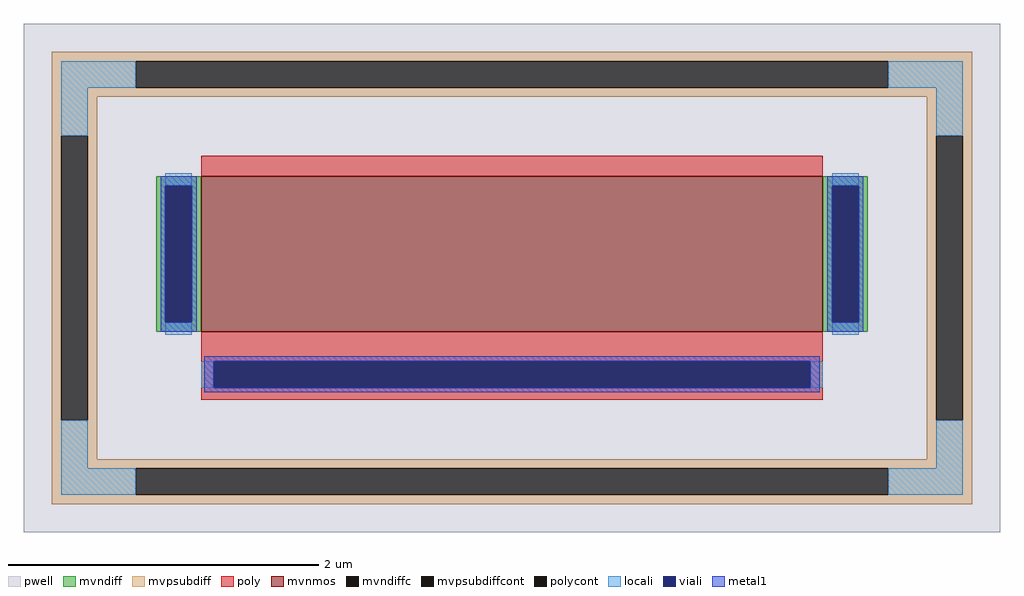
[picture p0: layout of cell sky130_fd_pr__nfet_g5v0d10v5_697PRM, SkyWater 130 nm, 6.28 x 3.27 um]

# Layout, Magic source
magic
tech sky130A
magscale 1 2
<< pwell >>
rect -628 -327 628 327
<< mvnmos >>
rect -400 -69 400 131
<< mvndiff >>
rect -458 119 -400 131
rect -458 -57 -446 119
rect -412 -57 -400 119
rect -458 -69 -400 -57
rect 400 119 458 131
rect 400 -57 412 119
rect 446 -57 458 119
rect 400 -69 458 -57
<< mvndiffc >>
rect -446 -57 -412 119
rect 412 -57 446 119
<< mvpsubdiff >>
rect -592 279 592 291
rect -592 245 -484 279
rect 484 245 592 279
rect -592 233 592 245
rect -592 183 -534 233
rect -592 -183 -580 183
rect -546 -183 -534 183
rect 534 183 592 233
rect -592 -233 -534 -183
rect 534 -183 546 183
rect 580 -183 592 183
rect 534 -233 592 -183
rect -592 -245 592 -233
rect -592 -279 -484 -245
rect 484 -279 592 -245
rect -592 -291 592 -279
<< mvpsubdiffcont >>
rect -484 245 484 279
rect -580 -183 -546 183
rect 546 -183 580 183
rect -484 -279 484 -245
<< poly >>
rect -400 131 400 157
rect -400 -107 400 -69
rect -400 -141 -384 -107
rect 384 -141 400 -107
rect -400 -157 400 -141
<< polycont >>
rect -384 -141 384 -107
<< locali >>
rect -580 245 -484 279
rect 484 245 580 279
rect -580 183 -546 245
rect 546 183 580 245
rect -446 119 -412 135
rect -446 -73 -412 -57
rect 412 119 446 135
rect 412 -73 446 -57
rect -400 -141 -384 -107
rect 384 -141 400 -107
rect -580 -245 -546 -183
rect 546 -245 580 -183
rect -580 -279 -484 -245
rect 484 -279 580 -245
<< viali >>
rect -446 -57 -412 119
rect 412 -57 446 119
rect -384 -141 384 -107
<< metal1 >>
rect -452 119 -406 131
rect -452 -57 -446 119
rect -412 -57 -406 119
rect -452 -69 -406 -57
rect 406 119 452 131
rect 406 -57 412 119
rect 446 -57 452 119
rect 406 -69 452 -57
rect -396 -107 396 -101
rect -396 -141 -384 -107
rect 384 -141 396 -107
rect -396 -147 396 -141
<< properties >>
string FIXED_BBOX -563 -262 563 262
string gencell sky130_fd_pr__nfet_g5v0d10v5
string library sky130
string parameters w 1.0 l 4.0 m 1 nf 1 diffcov 100 polycov 100 guard 1 glc 1 grc 1 gtc 1 gbc 1 tbcov 100 rlcov 100 topc 0 botc 1 poverlap 0 doverlap 1 lmin 0.50 wmin 0.42 compatible {sky130_fd_pr__nfet_01v8 sky130_fd_pr__nfet_01v8_lvt  sky130_fd_bs_flash__special_sonosfet_star  sky130_fd_pr__nfet_g5v0d10v5 sky130_fd_pr__nfet_05v0_nvt  sky130_fd_pr__nfet_03v3_nvt} full_metal 1 viasrc 100 viadrn 100 viagate 100 viagb 0 viagr 0 viagl 0 viagt 0
<< end >>
